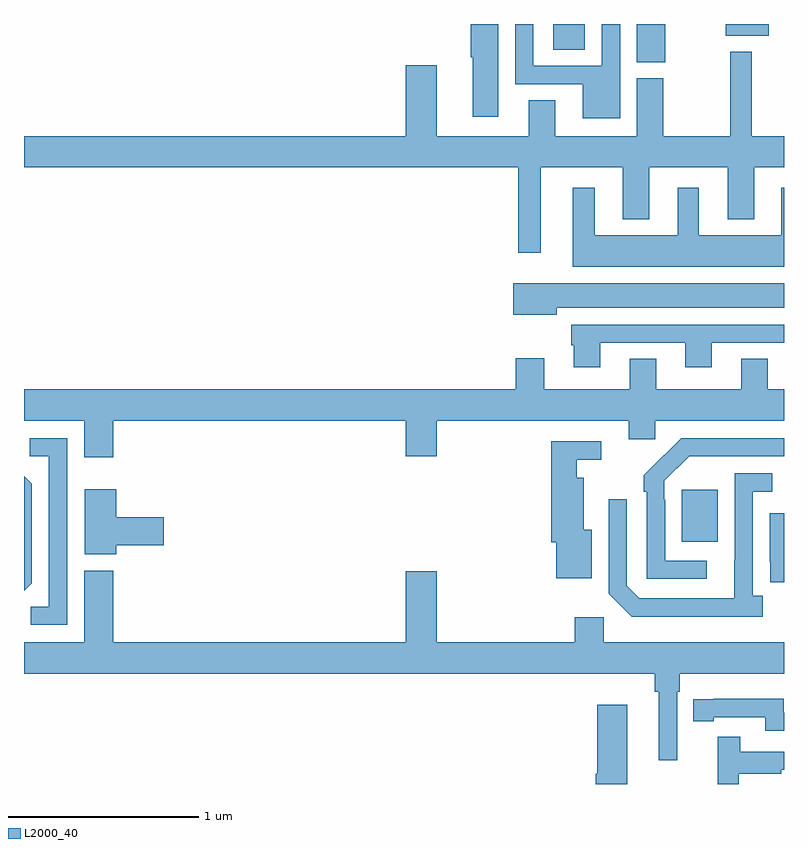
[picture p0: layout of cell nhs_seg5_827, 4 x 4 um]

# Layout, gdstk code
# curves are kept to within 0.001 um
import gdstk
lib = gdstk.Library(unit=1e-6, precision=1e-09)
def R(c, l, rs):  # rectangles x0, y0, x1, y1
    for r in rs: c.add(gdstk.rectangle(r[:2], r[2:], *l))
def P(c, l, *ps):  # polygons
    for p in ps: c.add(gdstk.Polygon(p, *l))
L2000_40 = (2000, 40)

nhs_seg5_827 = lib.new_cell('nhs_seg5_827')
R(nhs_seg5_827, L2000_40, [(166.463,904.073,166.651,904.348), (166.226,906.598,166.375,906.799), (165.785,906.664,165.952,906.799), (166.694,906.737,166.921,906.799)])
P(nhs_seg5_827, L2000_40, [(165.496,906.799),(165.35,906.799),(165.35,906.624),(165.362,906.624),(165.362,906.312),(165.496,906.312)],
  [(166.137,906.799),(166.041,906.799),(166.041,906.579),(165.681,906.579),(165.681,906.799),(165.585,906.799),(165.585,906.483),(165.941,906.483),(165.941,906.302),(166.137,906.302)],
  [(165.721,906.044),(166.151,906.044),(166.151,905.771),(166.291,905.771),(166.291,906.044),(166.703,906.044),(166.703,905.771),(166.843,905.771),(166.843,906.044),(167,906.044),(167,906.208),(166.831,906.208),(166.831,906.652),(166.717,906.652),(166.717,906.208),(166.365,906.208),(166.365,906.513),(166.226,906.513),(166.226,906.208),(165.796,906.208),(165.796,906.398),(165.656,906.398),(165.656,906.208),(165.172,906.208),(165.172,906.583),(165.008,906.583),(165.008,906.208),(163,906.208),(163,906.044),(165.6,906.044),(165.6,905.595),(165.721,905.595)],
  [(167,905.938),(166.985,905.938),(166.985,905.686),(166.552,905.686),(166.552,905.938),(166.442,905.938),(166.442,905.686),(166.003,905.686),(166.003,905.938),(165.887,905.938),(165.887,905.522),(167,905.522)],
  [(165.805,905.306),(167,905.306),(167,905.434),(165.576,905.434),(165.576,905.27),(165.805,905.27)],
  [(166.033,905.121),(166.481,905.121),(166.481,904.992),(166.621,904.992),(166.621,905.121),(167,905.121),(167,905.217),(165.881,905.217),(165.881,905.109),(165.893,905.109),(165.893,904.992),(166.033,904.992)],
  [(163.469,904.712),(165.008,904.712),(165.008,904.524),(165.172,904.524),(165.172,904.712),(166.184,904.712),(166.184,904.614),(166.323,904.614),(166.323,904.712),(167,904.712),(167,904.876),(166.915,904.876),(166.915,905.036),(166.775,905.036),(166.775,904.876),(166.327,904.876),(166.327,905.036),(166.187,905.036),(166.187,904.876),(165.739,904.876),(165.739,905.041),(165.587,905.041),(165.587,904.876),(163,904.876),(163,904.712),(163.316,904.712),(163.316,904.518),(163.469,904.518)],
  [(163.227,904.62),(163.029,904.62),(163.029,904.524),(163.131,904.524),(163.131,903.731),(163.036,903.731),(163.036,903.636),(163.227,903.636)],
  [(166.594,903.975),(166.374,903.975),(166.374,904.295),(166.371,904.295),(166.371,904.395),(166.5,904.524),(167,904.524),(167,904.62),(166.46,904.62),(166.263,904.425),(166.263,904.337),(166.278,904.337),(166.278,903.879),(166.594,903.879)],
  [(165.988,904.138),(165.946,904.138),(165.946,904.411),(165.91,904.411),(165.91,904.506),(166.039,904.506),(166.039,904.602),(165.776,904.602),(165.776,904.071),(165.8,904.071),(165.8,903.881),(165.988,903.881)],
  [(166.888,903.79),(166.836,903.79),(166.836,904.338),(166.939,904.338),(166.939,904.434),(166.74,904.434),(166.739,903.777),(166.239,903.777),(166.173,903.843),(166.173,904.297),(166.077,904.297),(166.077,903.801),(166.198,903.68),(166.888,903.68)],
  [(163.041,903.856),(163.041,904.378),(163,904.419),(163,903.815)],
  [(163.486,904.055),(163.735,904.055),(163.735,904.202),(163.486,904.202),(163.486,904.351),(163.319,904.351),(163.319,904.007),(163.486,904.007)],
  [(167,904.225),(166.926,904.225),(166.926,903.97),(166.927,903.97),(166.927,903.861),(167,903.861)],
  [(166.437,903.284),(166.451,903.284),(166.451,903.38),(167,903.38),(167,903.544),(166.05,903.544),(166.05,903.676),(165.899,903.676),(165.899,903.544),(165.172,903.544),(165.172,903.919),(165.008,903.919),(165.008,903.544),(163.469,903.544),(163.469,903.922),(163.316,903.922),(163.316,903.544),(163,903.544),(163,903.38),(166.321,903.38),(166.321,903.284),(166.34,903.284),(166.34,902.925),(166.437,902.925)],
  [(167,903.174),(166.998,903.174),(166.998,903.247),(166.63,903.247),(166.63,903.246),(166.522,903.246),(166.522,903.13),(166.63,903.13),(166.63,903.15),(166.902,903.15),(166.902,903.078),(167,903.078)],
  [(166.174,903.217),(166.016,903.217),(166.016,902.853),(166.01,902.853),(166.01,902.799),(166.174,902.799)],
  [(166.762,902.854),(166.985,902.854),(166.985,902.874),(167,902.874),(167,902.97),(166.769,902.97),(166.769,903.049),(166.652,903.049),(166.652,902.799),(166.762,902.799)])

lib.write_gds('nhs_seg5_827.gds')
